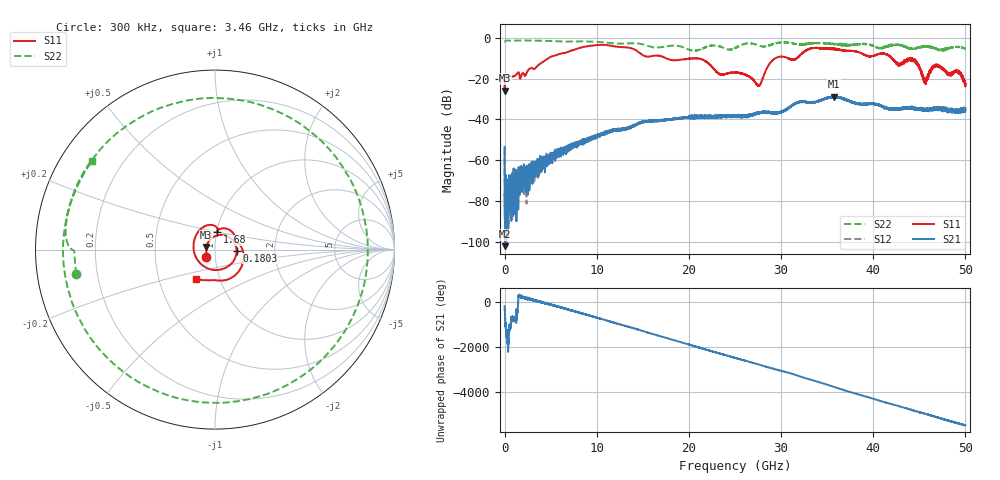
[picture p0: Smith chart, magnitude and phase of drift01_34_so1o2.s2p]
!Created with skrf (http://scikit-rf.org).
# Hz S RI R 50.0
!freq ReS11 ImS11 ReS21 ImS21 ReS12 ImS12 ReS22 ImS22
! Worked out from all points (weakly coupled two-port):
!   10001 points, 300 kHz to 50 GHz, reference 50 ohm
!   highest |S21| = -28.78 dB at 35.73 GHz (marker M1); lowest = -102.0 dB at 80.3 MHz (marker M2)
!   lowest |S11| = -25.8 dB at 5.3 MHz (marker M3), VSWR 1.11, Z = 45.3 + j1.39 ohm
!   |S11| at or under -10 dB: start of sweep to 4.766 GHz; 17.5 GHz to 29.4 GHz (11.9 GHz wide, 50.8 % of centre); 44.19 GHz to end of sweep (the widest 3 of 9)
!   |S22| runs from -6.5 to -1.4 dB; largest |S21 - S12| = 0.0044
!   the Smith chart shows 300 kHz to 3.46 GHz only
!   S11 on the Smith chart (normalised r, x): 300 kHz: 0.91, -0.08; 180.3 MHz: 1.27, -0.01; 1.68 GHz: 1.01, +0.20; 3.46 GHz: 0.77, -0.26
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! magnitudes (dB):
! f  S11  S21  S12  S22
! 300 kHz  -23.8  -53.4  -53.9  -2.1
! 5.3 MHz  -25.8  -76.2  -79.0  -2.1
! 80.3 MHz  -19.5  -102.0  -83.6  -1.5
! 180.3 MHz  -18.4  -70.2  -81.9  -1.4
! 445.3 MHz  -18.6  -82.6  -77.0  -1.4
! 1.68 GHz  -20.2  -71.5  -68.9  -1.4
! 3.46 GHz  -14.3  -64.3  -64.1  -1.5
! 8.335 GHz  -4.8  -51.3  -51.2  -1.8
! 16.67 GHz  -8.7  -40.4  -40.7  -4.8
! 25 GHz  -17.0  -38.1  -38.6  -5.1
! 27.59 GHz  -23.7  -37.0  -37.0  -3.8
! 29.28 GHz  -10.3  -36.7  -37.0  -2.9
! 31.45 GHz  -10.7  -32.5  -32.5  -3.0
! 33.34 GHz  -5.1  -31.4  -31.6  -2.6
! 35.73 GHz  -5.4  -28.8  -28.9  -3.0
! 41.67 GHz  -8.9  -34.5  -34.6  -4.2
! 42.75 GHz  -13.2  -34.9  -35.1  -3.4
! 44.42 GHz  -11.4  -35.3  -35.0  -5.3
! 45.63 GHz  -21.5  -35.3  -35.2  -4.4
! 46.95 GHz  -13.3  -35.2  -35.0  -5.5
! 49.25 GHz  -17.0  -35.8  -35.5  -4.6
! 50 GHz  -22.8  -36.2  -35.0  -5.4
